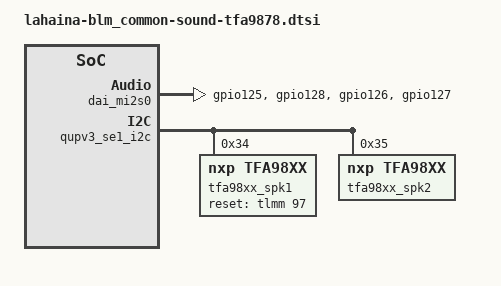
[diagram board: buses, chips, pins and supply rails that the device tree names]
/*
 * Copyright (c) 2018, The Linux Foundation. All rights reserved.
 *
 * This program is free software; you can redistribute it and/or modify
 * it under the terms of the GNU General Public License version 2 and
 * only version 2 as published by the Free Software Foundation.
 *
 * This program is distributed in the hope that it will be useful,
 * but WITHOUT ANY WARRANTY; without even the implied warranty of
 * MERCHANTABILITY or FITNESS FOR A PARTICULAR PURPOSE.  See the
 * GNU General Public License for more details.
 */

&tlmm {
	pri_mi2s_sck {
		pri_mi2s_sck_sleep: pri_mi2s_sck_sleep {
			mux {
				pins = "gpio125";
				function = "gpio";
			};

			config {
				pins = "gpio125";
				drive-strength = <2>;   /* 2 mA */
				bias-pull-down;         /* PULL DOWN */
				input-enable;
			};
		};

		pri_mi2s_sck_active: pri_mi2s_sck_active {
			mux {
				pins = "gpio125";
				function = "mi2s0_sck";
			};

			config {
				pins = "gpio125";
				drive-strength = <8>;   /* 8 mA */
				bias-disable;           /* NO PULL */
				output-high;
			};
		};
	};

	pri_mi2s_ws {
		pri_mi2s_ws_sleep: pri_mi2s_ws_sleep {
			mux {
				pins = "gpio128";
				function = "gpio";
			};

			config {
				pins = "gpio128";
				drive-strength = <2>;   /* 2 mA */
				bias-pull-down;         /* PULL DOWN */
				input-enable;
			};
		};

		pri_mi2s_ws_active: pri_mi2s_ws_active {
			mux {
				pins = "gpio128";
				function = "mi2s0_ws";
			};

			config {
				pins = "gpio128";
				drive-strength = <8>;   /* 8 mA */
				bias-disable;           /* NO PULL */
				output-high;
			};
		};
	};

	pri_mi2s_sd0 {
		pri_mi2s_sd0_sleep: pri_mi2s_sd0_sleep {
			mux {
				pins = "gpio126";
				function = "gpio";
			};

			config {
				pins = "gpio126";
				drive-strength = <2>;   /* 2 mA */
				bias-pull-down;         /* PULL DOWN */
				input-enable;
			};
		};

		pri_mi2s_sd0_active: pri_mi2s_sd0_active {
			mux {
				pins = "gpio126";
				function = "mi2s0_data0";
			};

			config {
				pins = "gpio126";
				drive-strength = <8>;   /* 8 mA */
				bias-disable;           /* NO PULL */
				output-high;
			};
		};
	};

	pri_mi2s_sd1 {
		pri_mi2s_sd1_sleep: pri_mi2s_sd1_sleep {
			mux {
				pins = "gpio127";
				function = "gpio";
			};

			config {
				pins = "gpio127";
				drive-strength = <2>;   /* 2 mA */
				bias-pull-down;         /* PULL DOWN */
				input-enable;
			};
		};

		pri_mi2s_sd1_active: pri_mi2s_sd1_active {
			mux {
				pins = "gpio127";
				function = "mi2s0_data1";
			};

			config {
				pins = "gpio127";
				drive-strength = <8>;   /* 8 mA */
				bias-disable;           /* NO PULL */
				output-high;
			};
		};
	};
};

&dai_mi2s0 {
		qcom,msm-mi2s-rx-lines = <2>; /* SD1 used as output */
		qcom,msm-mi2s-tx-lines = <1>; /* SD0 used as input */
		pinctrl-names = "default", "sleep";
		pinctrl-0 = <&pri_mi2s_sck_active &pri_mi2s_ws_active
					&pri_mi2s_sd0_active &pri_mi2s_sd1_active>;
		pinctrl-1 = <&pri_mi2s_sck_sleep &pri_mi2s_ws_sleep
					&pri_mi2s_sd0_sleep &pri_mi2s_sd1_sleep>;
};

&qupv3_se1_i2c{ /* QUPV3 SE4  */
	status = "ok";
	tfa98xx_spk1: tfa98xx@34 {
		compatible = "nxp,tfa98xx";
		status = "ok";
		reg = <0x34>;
		reset-gpio = <&tlmm 97 0x0>;
		reset-polarity = <0>;
		nxp,firmware-name = "Tfa98xx.cnt";
	};
	tfa98xx_spk2: tfa98xx@35 {
		compatible = "nxp,tfa98xx";
		status = "ok";
		reg = <0x35>;
		nxp,firmware-name = "Tfa98xx.cnt";
	};
};
